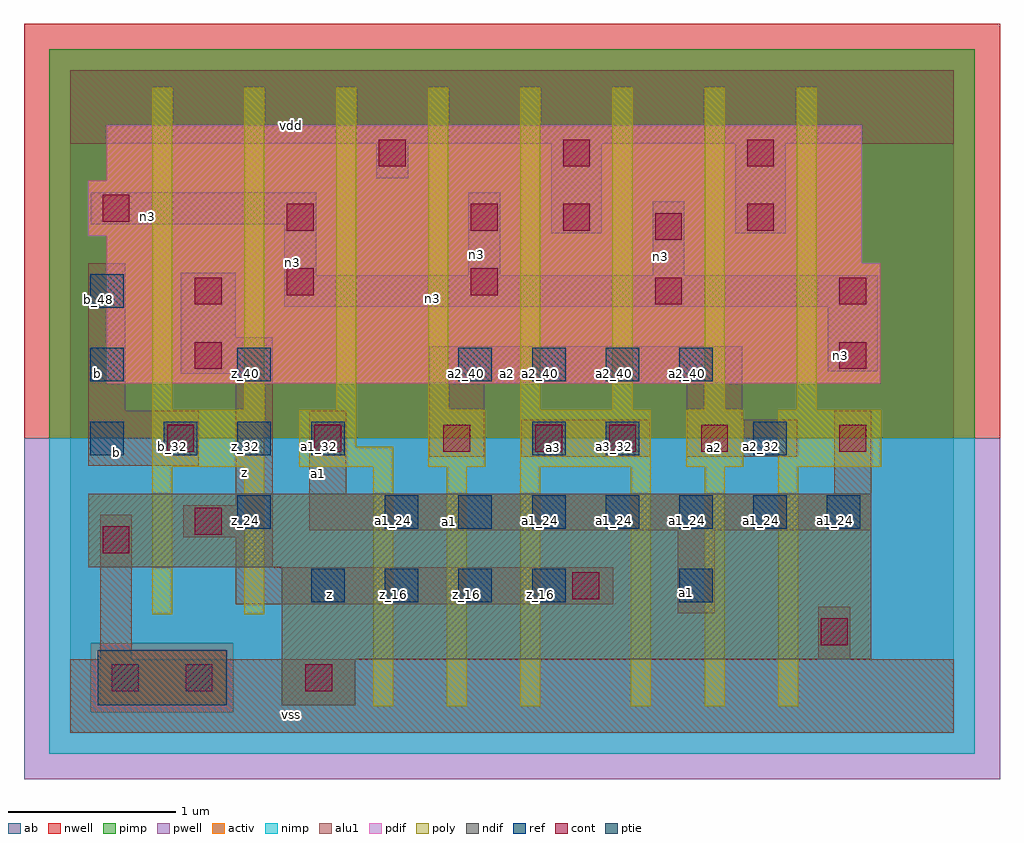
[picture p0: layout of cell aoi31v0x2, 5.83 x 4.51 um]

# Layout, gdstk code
import gdstk
lib = gdstk.Library(unit=1e-6, precision=2.5e-09)
def R(c, l, rs):  # rectangles x0, y0, x1, y1
    for r in rs: c.add(gdstk.rectangle(r[:2], r[2:], *l))
def A(c, l, x, y, w, h, nx, ny, dx, dy):  # array of equal rectangles
    R(c, l, [(x+i*dx, y+j*dy, x+i*dx+w, y+j*dy+h) for i in range(nx) for j in range(ny)])
ndif = (3, 0)
pdif = (4, 0)
ptie = (6, 0)
ref = (24, 0)
cont = (25, 0)
pwell = (41, 0)
nwell = (42, 0)
activ = (43, 0)
pimp = (44, 0)
nimp = (45, 0)
poly = (46, 0)
alu1 = (49, 0)
ab = (63, 0)

aoi31v0x2 = lib.new_cell('aoi31v0x2')
R(aoi31v0x2, ndif, [(1.265,0.165,1.705,0.44), (1.265,0.44,4.785,0.99), (0.11,0.99,4.785,1.43)])
R(aoi31v0x2, pdif, [(0.22,2.09,4.84,2.805), (0.22,2.805,4.73,2.97), (0.11,2.97,4.73,3.3), (0.22,3.3,4.73,3.63)])
R(aoi31v0x2, ptie, [(0.165,0.165,0.935,0.495)])
A(aoi31v0x2, ref, 1.44, 0.78, 0.2, 0.2, 4, 1, 0.44, 0)
A(aoi31v0x2, ref, 1.88, 1.22, 0.2, 0.2, 7, 1, 0.44, 0)
A(aoi31v0x2, ref, 0.12, 1.66, 0.2, 0.2, 4, 1, 0.44, 0)
A(aoi31v0x2, ref, 2.32, 2.1, 0.2, 0.2, 4, 1, 0.44, 0)
R(aoi31v0x2, ref, [(3.64,0.78,3.84,0.98), (1,1.22,1.2,1.42), (2.76,1.66,2.96,1.86), (3.2,1.66,3.4,1.86), (4.08,1.66,4.28,1.86), (0.12,2.1,0.32,2.3), (1,2.1,1.2,2.3), (0.12,2.54,0.32,2.74)])
A(aoi31v0x2, cont, 1.845, 3.385, 0.16, 0.16, 3, 1, 1.1, 0)
R(aoi31v0x2, cont, [(0.25,0.25,0.41,0.41), (0.69,0.25,0.85,0.41), (1.405,0.25,1.565,0.41), (4.485,0.525,4.645,0.685), (3,0.8,3.16,0.96), (0.195,1.075,0.355,1.235), (0.745,1.185,0.905,1.345), (0.58,1.68,0.74,1.84), (1.46,1.68,1.62,1.84), (2.23,1.68,2.39,1.84), (2.78,1.68,2.94,1.84), (3.22,1.68,3.38,1.84), (3.77,1.68,3.93,1.84), (4.595,1.68,4.755,1.84), (0.745,2.175,0.905,2.335), (4.595,2.175,4.755,2.335), (0.745,2.56,0.905,2.72), (3.495,2.56,3.655,2.72), (4.595,2.56,4.755,2.72), (1.295,2.615,1.455,2.775), (2.395,2.615,2.555,2.775), (3.495,2.945,3.655,3.105), (1.295,3,1.455,3.16), (2.395,3,2.555,3.16), (2.945,3,3.105,3.16), (4.045,3,4.205,3.16), (0.195,3.055,0.355,3.215)])
R(aoi31v0x2, pwell, [(-0.275,-0.275,5.555,1.76)])
R(aoi31v0x2, nwell, [(-0.275,1.76,5.555,4.235)])
R(aoi31v0x2, activ, [(0.165,0.165,0.935,0.495), (1.265,0.165,1.705,0.44), (1.265,0.44,4.785,0.99), (0.11,0.99,4.785,1.43), (0.22,2.09,4.84,2.805), (0.22,2.805,4.73,2.97), (0.11,2.97,4.73,3.3), (0.22,3.3,4.73,3.63)])
R(aoi31v0x2, pimp, [(0.125,0.125,0.975,0.535), (-0.125,1.76,5.405,4.085)])
R(aoi31v0x2, nimp, [(-0.125,-0.125,5.405,0.125), (-0.125,0.125,0.125,0.535), (0.975,0.125,5.405,0.535), (-0.125,0.535,5.405,1.76)])
A(aoi31v0x2, poly, 1.81, 0.16, 0.12, 1.43, 3, 1, 0.44, 0)
A(aoi31v0x2, poly, 3.35, 0.16, 0.12, 1.43, 3, 1, 0.44, 0)
A(aoi31v0x2, poly, 0.49, 1.93, 0.12, 1.925, 8, 1, 0.55, 0)
R(aoi31v0x2, poly, [(0.49,0.71,0.61,1.59), (1.04,0.71,1.16,1.59), (0.49,1.59,1.16,1.93), (1.37,1.59,1.93,1.71), (2.14,1.59,2.48,1.93), (2.69,1.59,3.47,1.93), (3.68,1.59,4.02,1.93), (4.23,1.59,4.845,1.93), (1.37,1.71,1.71,1.93)])
R(aoi31v0x2, alu1, [(0,0,5.28,0.44), (0.18,0.44,0.37,1.305), (4.47,0.44,4.66,0.755), (3.63,0.715,3.85,1.21), (0.99,0.77,3.245,0.99), (0.99,0.99,1.21,1.17), (0.675,1.17,1.21,1.36), (1.43,1.21,4.785,1.43), (0.99,1.36,1.21,2.145), (1.43,1.43,1.65,1.925), (4.565,1.43,4.785,1.925), (0.11,1.595,0.77,1.925), (2.145,1.65,2.475,2.09), (2.695,1.65,3.465,1.87), (3.685,1.65,4.345,1.87), (3.685,1.87,4.015,2.09), (0.11,1.925,0.33,2.805), (2.145,2.09,4.015,2.31), (0.66,2.145,1.21,2.365), (4.525,2.16,4.825,2.545), (0.66,2.365,0.99,2.75), (1.28,2.545,4.825,2.735), (1.28,2.735,1.47,3.04), (2.38,2.735,2.57,3.23), (3.48,2.735,3.67,3.175), (2.875,2.985,3.175,3.52), (3.975,2.985,4.275,3.52), (0.125,3.04,1.47,3.23), (1.83,3.315,2.02,3.52), (0,3.52,5.28,3.96)])
R(aoi31v0x2, ab, [(0,0,5.28,3.96)])
aoi31v0x2.add(gdstk.Label('vss', (1.32,0.11), layer=49, texttype=0))
aoi31v0x2.add(gdstk.Label('a1', (3.685,0.8375), layer=49, texttype=0))
aoi31v0x2.add(gdstk.Label('z', (1.5525,0.825), layer=49, texttype=0))
aoi31v0x2.add(gdstk.Label('a1', (2.2675,1.265), layer=49, texttype=0))
aoi31v0x2.add(gdstk.Label('a2', (3.85,1.705), layer=49, texttype=0))
aoi31v0x2.add(gdstk.Label('a3', (2.8875,1.705), layer=49, texttype=0))
aoi31v0x2.add(gdstk.Label('a1', (1.485,1.5525), layer=49, texttype=0))
aoi31v0x2.add(gdstk.Label('n3', (4.6,2.255), layer=49, texttype=0))
aoi31v0x2.add(gdstk.Label('a2', (2.6125,2.145), layer=49, texttype=0))
aoi31v0x2.add(gdstk.Label('z', (1.045,1.555), layer=49, texttype=0))
aoi31v0x2.add(gdstk.Label('b', (0.275,1.6775), layer=49, texttype=0))
aoi31v0x2.add(gdstk.Label('n3', (2.165,2.5925), layer=49, texttype=0))
aoi31v0x2.add(gdstk.Label('n3', (3.5275,2.845), layer=49, texttype=0))
aoi31v0x2.add(gdstk.Label('n3', (2.4275,2.8575), layer=49, texttype=0))
aoi31v0x2.add(gdstk.Label('n3', (1.3275,2.81), layer=49, texttype=0))
aoi31v0x2.add(gdstk.Label('b', (0.165,2.145), layer=49, texttype=0))
aoi31v0x2.add(gdstk.Label('n3', (0.46,3.0875), layer=49, texttype=0))
aoi31v0x2.add(gdstk.Label('vdd', (1.32,3.63), layer=49, texttype=0))
aoi31v0x2.add(gdstk.Label('b_32', (0.61,1.71), layer=24, texttype=0))
aoi31v0x2.add(gdstk.Label('z_24', (1.05,1.27), layer=24, texttype=0))
aoi31v0x2.add(gdstk.Label('z_32', (1.05,1.71), layer=24, texttype=0))
aoi31v0x2.add(gdstk.Label('z_40', (1.05,2.15), layer=24, texttype=0))
aoi31v0x2.add(gdstk.Label('z_16', (1.49,0.83), layer=24, texttype=0))
aoi31v0x2.add(gdstk.Label('a1_32', (1.49,1.71), layer=24, texttype=0))
aoi31v0x2.add(gdstk.Label('z_16', (1.93,0.83), layer=24, texttype=0))
aoi31v0x2.add(gdstk.Label('a1_24', (1.93,1.27), layer=24, texttype=0))
aoi31v0x2.add(gdstk.Label('b_32', (0.17,1.71), layer=24, texttype=0))
aoi31v0x2.add(gdstk.Label('b_40', (0.17,2.15), layer=24, texttype=0))
aoi31v0x2.add(gdstk.Label('b_48', (0.17,2.59), layer=24, texttype=0))
aoi31v0x2.add(gdstk.Label('z_16', (2.37,0.83), layer=24, texttype=0))
aoi31v0x2.add(gdstk.Label('a1_24', (2.37,1.27), layer=24, texttype=0))
aoi31v0x2.add(gdstk.Label('a2_40', (2.37,2.15), layer=24, texttype=0))
aoi31v0x2.add(gdstk.Label('z_16', (2.81,0.83), layer=24, texttype=0))
aoi31v0x2.add(gdstk.Label('a1_24', (2.81,1.27), layer=24, texttype=0))
aoi31v0x2.add(gdstk.Label('a3_32', (2.81,1.71), layer=24, texttype=0))
aoi31v0x2.add(gdstk.Label('a2_40', (2.81,2.15), layer=24, texttype=0))
aoi31v0x2.add(gdstk.Label('a1_24', (3.25,1.27), layer=24, texttype=0))
aoi31v0x2.add(gdstk.Label('a3_32', (3.25,1.71), layer=24, texttype=0))
aoi31v0x2.add(gdstk.Label('a2_40', (3.25,2.15), layer=24, texttype=0))
aoi31v0x2.add(gdstk.Label('a1_16', (3.69,0.83), layer=24, texttype=0))
aoi31v0x2.add(gdstk.Label('a1_24', (3.69,1.27), layer=24, texttype=0))
aoi31v0x2.add(gdstk.Label('a2_40', (3.69,2.15), layer=24, texttype=0))
aoi31v0x2.add(gdstk.Label('a1_24', (4.13,1.27), layer=24, texttype=0))
aoi31v0x2.add(gdstk.Label('a2_32', (4.13,1.71), layer=24, texttype=0))
aoi31v0x2.add(gdstk.Label('a1_24', (4.57,1.27), layer=24, texttype=0))

lib.write_gds('aoi31v0x2.gds')
